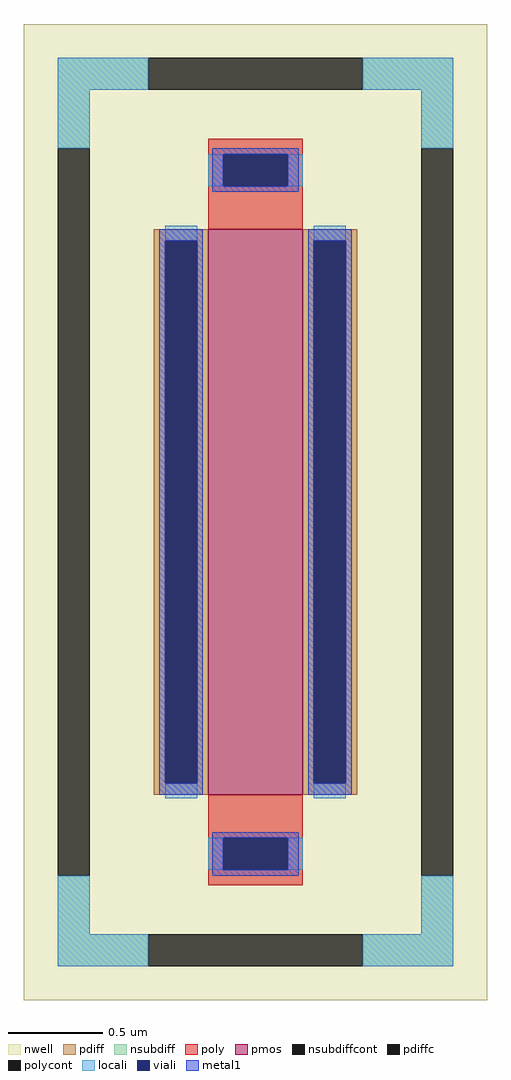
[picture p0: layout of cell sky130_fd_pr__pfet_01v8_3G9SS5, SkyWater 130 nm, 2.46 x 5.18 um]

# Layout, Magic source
magic
tech sky130A
<< nwell >>
rect -123 -259 123 259
<< pmos >>
rect -25 -150 25 150
<< pdiff >>
rect -54 144 -25 150
rect -54 -144 -48 144
rect -31 -144 -25 144
rect -54 -150 -25 -144
rect 25 144 54 150
rect 25 -144 31 144
rect 48 -144 54 144
rect 25 -150 54 -144
<< pdiffc >>
rect -48 -144 -31 144
rect 31 -144 48 144
<< nsubdiff >>
rect -105 224 -57 241
rect 57 224 105 241
rect -105 193 -88 224
rect 88 193 105 224
rect -105 -224 -88 -193
rect 88 -224 105 -193
rect -105 -241 -57 -224
rect 57 -241 105 -224
<< nsubdiffcont >>
rect -57 224 57 241
rect -105 -193 -88 193
rect 88 -193 105 193
rect -57 -241 57 -224
<< poly >>
rect -25 190 25 198
rect -25 173 -17 190
rect 17 173 25 190
rect -25 150 25 173
rect -25 -173 25 -150
rect -25 -190 -17 -173
rect 17 -190 25 -173
rect -25 -198 25 -190
<< polycont >>
rect -17 173 17 190
rect -17 -190 17 -173
<< locali >>
rect -105 224 -57 241
rect 57 224 105 241
rect -105 193 -88 224
rect 88 193 105 224
rect -25 173 -17 190
rect 17 173 25 190
rect -48 144 -31 152
rect -48 -152 -31 -144
rect 31 144 48 152
rect 31 -152 48 -144
rect -25 -190 -17 -173
rect 17 -190 25 -173
rect -105 -224 -88 -193
rect 88 -224 105 -193
rect -105 -241 -57 -224
rect 57 -241 105 -224
<< viali >>
rect -17 173 17 190
rect -48 -144 -31 144
rect 31 -144 48 144
rect -17 -190 17 -173
<< metal1 >>
rect -23 190 23 193
rect -23 173 -17 190
rect 17 173 23 190
rect -23 170 23 173
rect -51 144 -28 150
rect -51 -144 -48 144
rect -31 -144 -28 144
rect -51 -150 -28 -144
rect 28 144 51 150
rect 28 -144 31 144
rect 48 -144 51 144
rect 28 -150 51 -144
rect -23 -173 23 -170
rect -23 -190 -17 -173
rect 17 -190 23 -173
rect -23 -193 23 -190
<< properties >>
string FIXED_BBOX -96 -233 96 233
string gencell sky130_fd_pr__pfet_01v8
string library sky130
string parameters w 3 l 0.5 m 1 nf 1 diffcov 100 polycov 100 guard 1 glc 1 grc 1 gtc 1 gbc 1 tbcov 100 rlcov 100 topc 1 botc 1 poverlap 0 doverlap 1 lmin 0.15 wmin 0.42 compatible {sky130_fd_pr__pfet_01v8  sky130_fd_pr__pfet_01v8_lvt sky130_fd_pr__pfet_01v8_hvt  sky130_fd_pr__pfet_g5v0d10v5} full_metal 1 viasrc 100 viadrn 100 viagate 100 viagb 0 viagr 0 viagl 0 viagt 0
<< end >>
